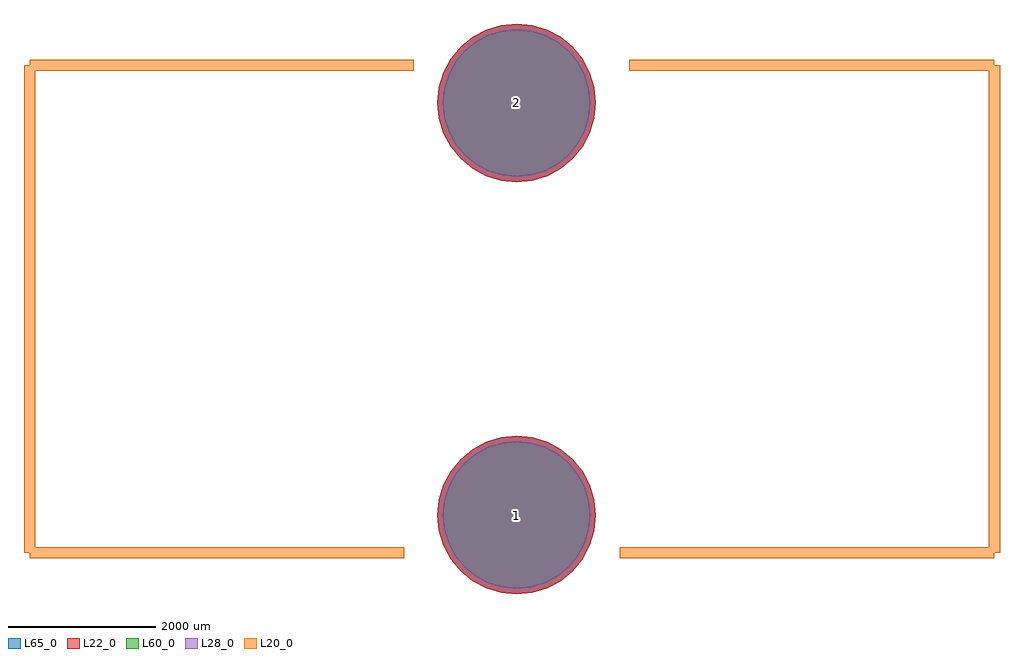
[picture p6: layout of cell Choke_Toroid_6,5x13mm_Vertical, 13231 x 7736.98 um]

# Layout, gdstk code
import gdstk
lib = gdstk.Library(unit=1e-6, precision=1e-09)
def P(c, l, *ps):  # polygons
    for p in ps: c.add(gdstk.Polygon(p, *l))
L20_0 = (20, 0)
L22_0 = (22, 0)
L28_0 = (28, 0)
L60_0 = (60, 0)
L65_0 = (65, 0)

choke_toroid_6_5x13mm_ve = lib.new_cell('Choke_Toroid_6,5x13mm_Vertical')
P(choke_toroid_6_5x13mm_ve, L22_0, [(7678.49,6096),(7657.844,6305.623),(7596.699,6507.19),(7497.406,6692.955),(7363.779,6855.779),(7200.955,6989.406),(7015.19,7088.699),(6813.623,7149.844),(6604,7170.49),(6394.377,7149.844),(6192.81,7088.699),(6007.045,6989.406),(5844.221,6855.779),(5710.594,6692.955),(5611.301,6507.19),(5550.156,6305.623),(5529.51,6096),(5550.156,5886.377),(5611.301,5684.81),(5710.594,5499.045),(5844.221,5336.221),(6007.045,5202.594),(6192.81,5103.301),(6394.377,5042.156),(6604,5021.51),(6813.623,5042.156),(7015.19,5103.301),(7200.955,5202.594),(7363.779,5336.221),(7497.406,5499.045),(7596.699,5684.81),(7657.844,5886.377)],
  [(7678.49,508),(7657.844,717.623),(7596.699,919.19),(7497.406,1104.955),(7363.779,1267.779),(7200.955,1401.406),(7015.19,1500.699),(6813.623,1561.844),(6604,1582.49),(6394.377,1561.844),(6192.81,1500.699),(6007.045,1401.406),(5844.221,1267.779),(5710.594,1104.955),(5611.301,919.19),(5550.156,717.623),(5529.51,508),(5550.156,298.377),(5611.301,96.81),(5710.594,-88.955),(5844.221,-251.779),(6007.045,-385.406),(6192.81,-484.699),(6394.377,-545.844),(6604,-566.49),(6813.623,-545.844),(7015.19,-484.699),(7200.955,-385.406),(7363.779,-251.779),(7497.406,-88.955),(7596.699,96.81),(7657.844,298.377)])
P(choke_toroid_6_5x13mm_ve, L28_0, [(7603.49,6096),(7584.285,6290.991),(7527.408,6478.488),(7435.046,6651.287),(7310.746,6802.746),(7159.287,6927.046),(6986.488,7019.408),(6798.991,7076.285),(6604,7095.49),(6409.009,7076.285),(6221.512,7019.408),(6048.713,6927.046),(5897.254,6802.746),(5772.954,6651.287),(5680.592,6478.488),(5623.715,6290.991),(5604.51,6096),(5623.715,5901.009),(5680.592,5713.512),(5772.954,5540.713),(5897.254,5389.254),(6048.713,5264.954),(6221.512,5172.592),(6409.009,5115.715),(6604,5096.51),(6798.991,5115.715),(6986.488,5172.592),(7159.287,5264.954),(7310.746,5389.254),(7435.046,5540.713),(7527.408,5713.512),(7584.285,5901.009)],
  [(7603.49,508),(7584.285,702.991),(7527.408,890.488),(7435.046,1063.287),(7310.746,1214.746),(7159.287,1339.046),(6986.488,1431.408),(6798.991,1488.285),(6604,1507.49),(6409.009,1488.285),(6221.512,1431.408),(6048.713,1339.046),(5897.254,1214.746),(5772.954,1063.287),(5680.592,890.488),(5623.715,702.991),(5604.51,508),(5623.715,313.009),(5680.592,125.512),(5772.954,-47.287),(5897.254,-198.746),(6048.713,-323.046),(6221.512,-415.408),(6409.009,-472.285),(6604,-491.49),(6798.991,-472.285),(6986.488,-415.408),(7159.287,-323.046),(7310.746,-198.746),(7435.046,-47.287),(7527.408,125.512),(7584.285,313.009)])
P(choke_toroid_6_5x13mm_ve, L60_0, [(7603.49,6096),(7584.285,6290.991),(7527.408,6478.488),(7435.046,6651.287),(7310.746,6802.746),(7159.287,6927.046),(6986.488,7019.408),(6798.991,7076.285),(6604,7095.49),(6409.009,7076.285),(6221.512,7019.408),(6048.713,6927.046),(5897.254,6802.746),(5772.954,6651.287),(5680.592,6478.488),(5623.715,6290.991),(5604.51,6096),(5623.715,5901.009),(5680.592,5713.512),(5772.954,5540.713),(5897.254,5389.254),(6048.713,5264.954),(6221.512,5172.592),(6409.009,5115.715),(6604,5096.51),(6798.991,5115.715),(6986.488,5172.592),(7159.287,5264.954),(7310.746,5389.254),(7435.046,5540.713),(7527.408,5713.512),(7584.285,5901.009)],
  [(7603.49,508),(7584.285,702.991),(7527.408,890.488),(7435.046,1063.287),(7310.746,1214.746),(7159.287,1339.046),(6986.488,1431.408),(6798.991,1488.285),(6604,1507.49),(6409.009,1488.285),(6221.512,1431.408),(6048.713,1339.046),(5897.254,1214.746),(5772.954,1063.287),(5680.592,890.488),(5623.715,702.991),(5604.51,508),(5623.715,313.009),(5680.592,125.512),(5772.954,-47.287),(5897.254,-198.746),(6048.713,-323.046),(6221.512,-415.408),(6409.009,-472.285),(6604,-491.49),(6798.991,-472.285),(6986.488,-415.408),(7159.287,-323.046),(7310.746,-198.746),(7435.046,-47.287),(7527.408,125.512),(7584.285,313.009)])
P(choke_toroid_6_5x13mm_ve, L65_0, [(7678.49,6096),(7657.844,6305.623),(7596.699,6507.19),(7497.406,6692.955),(7363.779,6855.779),(7200.955,6989.406),(7015.19,7088.699),(6813.623,7149.844),(6604,7170.49),(6394.377,7149.844),(6192.81,7088.699),(6007.045,6989.406),(5844.221,6855.779),(5710.594,6692.955),(5611.301,6507.19),(5550.156,6305.623),(5529.51,6096),(5550.156,5886.377),(5611.301,5684.81),(5710.594,5499.045),(5844.221,5336.221),(6007.045,5202.594),(6192.81,5103.301),(6394.377,5042.156),(6604,5021.51),(6813.623,5042.156),(7015.19,5103.301),(7200.955,5202.594),(7363.779,5336.221),(7497.406,5499.045),(7596.699,5684.81),(7657.844,5886.377)],
  [(7678.49,508),(7657.844,717.623),(7596.699,919.19),(7497.406,1104.955),(7363.779,1267.779),(7200.955,1401.406),(7015.19,1500.699),(6813.623,1561.844),(6604,1582.49),(6394.377,1561.844),(6192.81,1500.699),(6007.045,1401.406),(5844.221,1267.779),(5710.594,1104.955),(5611.301,919.19),(5550.156,717.623),(5529.51,508),(5550.156,298.377),(5611.301,96.81),(5710.594,-88.955),(5844.221,-251.779),(6007.045,-385.406),(6192.81,-484.699),(6394.377,-545.844),(6604,-566.49),(6813.623,-545.844),(7015.19,-484.699),(7200.955,-385.406),(7363.779,-251.779),(7497.406,-88.955),(7596.699,96.81),(7657.844,298.377)])
choke_toroid_6_5x13mm_ve.add(gdstk.FlexPath([(0,6604),(0,0)], 149.998, ends="flush", simple_path=True, layer=20, datatype=0))  # L20_0
choke_toroid_6_5x13mm_ve.add(gdstk.FlexPath([(13081,0),(13081,6604)], 149.998, ends="flush", simple_path=True, layer=20, datatype=0))  # L20_0
choke_toroid_6_5x13mm_ve.add(gdstk.FlexPath([(13081,0),(8001,0)], 149.998, ends="flush", simple_path=True, layer=20, datatype=0))  # L20_0
choke_toroid_6_5x13mm_ve.add(gdstk.FlexPath([(0,0),(5080,0)], 149.998, ends="flush", simple_path=True, layer=20, datatype=0))  # L20_0
choke_toroid_6_5x13mm_ve.add(gdstk.FlexPath([(13081,6604),(8128,6604)], 149.998, ends="flush", simple_path=True, layer=20, datatype=0))  # L20_0
choke_toroid_6_5x13mm_ve.add(gdstk.FlexPath([(0,6604),(5207,6604)], 149.998, ends="flush", simple_path=True, layer=20, datatype=0))  # L20_0
choke_toroid_6_5x13mm_ve.add(gdstk.Label('2', (6604,6096), layer=28, texttype=0))
choke_toroid_6_5x13mm_ve.add(gdstk.Label('1', (6604,508), layer=28, texttype=0))
choke_toroid_6_5x13mm_ve.add(gdstk.Label('type', (5080,-2540), layer=9, texttype=0))
choke_toroid_6_5x13mm_ve.add(gdstk.Label('devicename', (13970,8890), layer=9, texttype=0))

lib.write_gds('Choke_Toroid_6_5x13mm_Vertical.gds')
